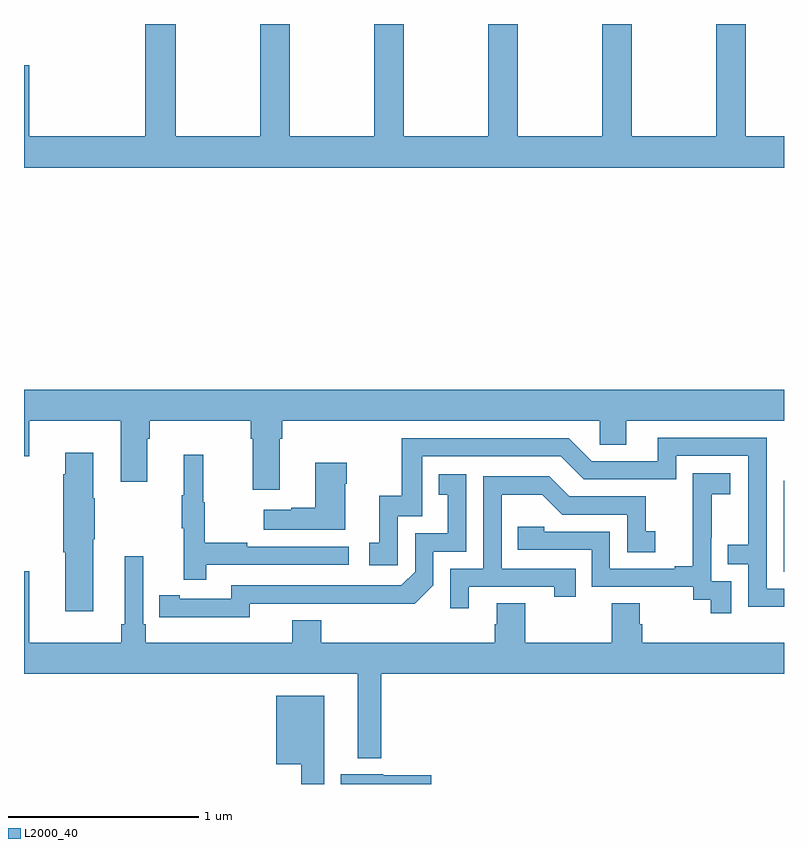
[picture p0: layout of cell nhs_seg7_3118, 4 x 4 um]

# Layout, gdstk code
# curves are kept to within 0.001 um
import gdstk
lib = gdstk.Library(unit=1e-6, precision=1e-09)
def R(c, l, rs):  # rectangles x0, y0, x1, y1
    for r in rs: c.add(gdstk.rectangle(r[:2], r[2:], *l))
def P(c, l, *ps):  # polygons
    for p in ps: c.add(gdstk.Polygon(p, *l))
L2000_40 = (2000, 40)

nhs_seg7_3118 = lib.new_cell('nhs_seg7_3118')
R(nhs_seg7_3118, L2000_40, [(312.999,1037.118,313,1037.595)])
P(nhs_seg7_3118, L2000_40, [(313,1039.408),(312.798,1039.408),(312.798,1040),(312.643,1040),(312.643,1039.408),(312.198,1039.408),(312.198,1040),(312.043,1040),(312.043,1039.408),(311.598,1039.408),(311.598,1040),(311.443,1040),(311.443,1039.408),(310.998,1039.408),(310.998,1040),(310.843,1040),(310.843,1039.408),(310.398,1039.408),(310.398,1040),(310.243,1040),(310.243,1039.408),(309.798,1039.408),(309.798,1040),(309.638,1040),(309.638,1039.408),(309.028,1039.408),(309.028,1039.783),(309,1039.783),(309,1039.244),(313,1039.244)],
  [(310.345,1037.816),(310.358,1037.816),(310.358,1037.912),(312.03,1037.912),(312.03,1037.785),(312.169,1037.785),(312.169,1037.912),(313,1037.912),(313,1038.076),(309,1038.076),(309,1037.724),(309.028,1037.724),(309.028,1037.912),(309.509,1037.912),(309.509,1037.592),(309.649,1037.592),(309.649,1037.816),(309.662,1037.816),(309.662,1037.912),(310.193,1037.912),(310.193,1037.816),(310.205,1037.816),(310.205,1037.55),(310.345,1037.55)],
  [(313,1037.028),(312.909,1037.028),(312.909,1037.823),(312.335,1037.823),(312.335,1037.7),(311.988,1037.7),(311.868,1037.82),(310.989,1037.82),(310.989,1037.518),(310.871,1037.518),(310.871,1037.271),(310.818,1037.271),(310.818,1037.151),(310.968,1037.151),(310.968,1037.409),(311.097,1037.409),(311.097,1037.724),(311.826,1037.724),(311.946,1037.604),(312.432,1037.604),(312.432,1037.727),(312.813,1037.727),(312.813,1037.258),(312.703,1037.258),(312.703,1037.157),(312.813,1037.157),(312.813,1036.932),(313,1036.932)],
  [(309.364,1037.287),(309.372,1037.287),(309.372,1037.504),(309.364,1037.504),(309.364,1037.743),(309.218,1037.743),(309.218,1037.63),(309.206,1037.63),(309.206,1037.22),(309.218,1037.22),(309.218,1036.908),(309.364,1036.908)],
  [(309.959,1037.154),(310.708,1037.154),(310.708,1037.25),(310.175,1037.25),(310.175,1037.27),(309.952,1037.27),(309.952,1037.484),(309.944,1037.484),(309.944,1037.734),(309.842,1037.734),(309.842,1037.521),(309.831,1037.521),(309.831,1037.347),(309.842,1037.347),(309.842,1037.076),(309.959,1037.076)],
  [(310.69,1037.579),(310.698,1037.579),(310.698,1037.692),(310.532,1037.692),(310.532,1037.453),(310.406,1037.453),(310.406,1037.443),(310.263,1037.443),(310.263,1037.339),(310.69,1037.339)],
  [(312.723,1037.067),(312.618,1037.067),(312.618,1037.297),(312.62,1037.297),(312.62,1037.525),(312.718,1037.525),(312.718,1037.635),(312.52,1037.635),(312.52,1037.429),(312.521,1037.429),(312.521,1037.146),(312.425,1037.146),(312.425,1037.133),(312.084,1037.133),(312.084,1037.328),(311.739,1037.328),(311.739,1037.355),(311.599,1037.355),(311.599,1037.232),(311.988,1037.232),(311.988,1037.037),(312.522,1037.037),(312.522,1036.969),(312.615,1036.969),(312.615,1036.899),(312.723,1036.899)],
  [(310.188,1036.95),(311.056,1036.949),(311.154,1037.046),(311.154,1037.223),(311.328,1037.223),(311.328,1037.629),(311.182,1037.629),(311.182,1037.523),(311.231,1037.523),(311.231,1037.319),(311.058,1037.319),(311.058,1037.118),(310.986,1037.046),(310.092,1037.046),(310.092,1036.974),(309.82,1036.974),(309.82,1036.994),(309.712,1036.994),(309.712,1036.878),(310.188,1036.877)],
  [(311.341,1037.037),(311.792,1037.037),(311.792,1036.986),(311.903,1036.986),(311.903,1037.133),(311.514,1037.133),(311.514,1037.522),(311.728,1037.522),(311.832,1037.418),(312.174,1037.418),(312.174,1037.22),(312.322,1037.22),(312.322,1037.329),(312.273,1037.329),(312.273,1037.514),(311.869,1037.514),(311.764,1037.619),(311.418,1037.619),(311.418,1037.133),(311.244,1037.133),(311.244,1036.926),(311.341,1036.926)],
  [(313,1036.744),(312.254,1036.744),(312.254,1036.842),(312.241,1036.842),(312.241,1036.952),(312.094,1036.952),(312.094,1036.744),(311.637,1036.744),(311.637,1036.952),(311.489,1036.952),(311.489,1036.842),(311.477,1036.842),(311.477,1036.744),(310.565,1036.744),(310.565,1036.861),(310.412,1036.861),(310.412,1036.744),(309.641,1036.744),(309.641,1036.84),(309.627,1036.84),(309.627,1037.2),(309.53,1037.2),(309.53,1036.84),(309.511,1036.84),(309.511,1036.744),(309.028,1036.744),(309.028,1037.119),(309,1037.119),(309,1036.58),(310.757,1036.58),(310.757,1036.136),(310.879,1036.136),(310.879,1036.58),(313,1036.58)],
  [(310.579,1036.465),(310.328,1036.465),(310.328,1036.103),(310.458,1036.103),(310.458,1036),(310.579,1036)],
  [(311.143,1036.046),(310.89,1036.046),(310.89,1036.051),(310.667,1036.051),(310.667,1036),(311.143,1036)])

lib.write_gds('nhs_seg7_3118.gds')
